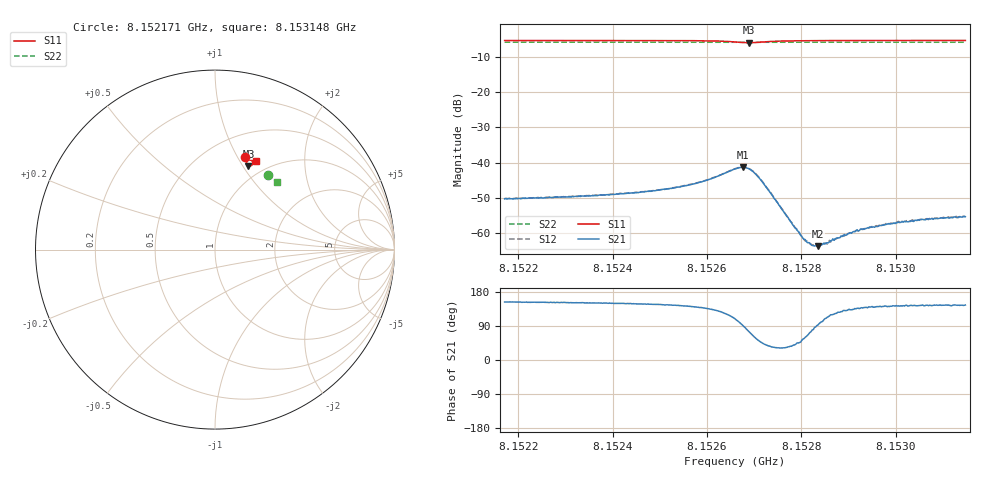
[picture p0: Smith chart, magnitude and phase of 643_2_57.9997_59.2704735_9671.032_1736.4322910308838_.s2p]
#  HZ  S  RI  R  50.00
! Rohde & Schwarz Vector Network Analyzer
! Rohde-Schwarz,ZNB20-2Port,1311601062101988,3.16
! Created: UTC 3/21/2024, 1:19:08 AM
! freq[Hz]  re:S11  im:S11  re:S21  im:S21  re:S12  im:S12  re:S22  im:S22
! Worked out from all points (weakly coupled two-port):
!   401 points, 8.152171 GHz to 8.153148 GHz, reference 50 ohm
!   highest |S21| = -41.32 dB at 8.152676 GHz (marker M1); lowest = -63.7 dB at 8.152835 GHz (marker M2)
!   lowest |S11| = -6.0 dB at 8.152689 GHz (marker M3), VSWR 3.02, Z = 42.5 + j53 ohm
!   |S11| at or under -10 dB: nowhere
!   |S22| runs from -5.9 to -5.8 dB; largest |S21 - S12| = 0.00016
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8.1521712e9  0.1687 0.5135  -0.00273 0.00139  -0.00273 0.00143  0.2953 0.4181
8.1523348e9  0.181 0.5094  -0.00294 0.00161  -0.0029 0.00166  0.3037 0.4118
8.1524299e9  0.1885 0.5065  -0.00314 0.00188  -0.00312 0.00195  0.3085 0.4082
8.1524983e9  0.1948 0.5035  -0.0034 0.00225  -0.00339 0.0023  0.312 0.4053
8.1525764e9  0.2034 0.4974  -0.00387 0.00326  -0.00388 0.00335  0.3161 0.4019
8.152613e9  0.208 0.4911  -0.00411 0.00442  -0.00411 0.00455  0.3177 0.4003
8.1526594e9  0.2069 0.4724  -0.00262 0.0077  -0.00256 0.00779  0.3195 0.3979
8.1526765e9  0.1965 0.4654  -8.78e-05 0.00859  -2.28e-05 0.00865  0.3199 0.3969
8.1526887e9  0.1861 0.4662  0.0021 0.00792  0.00219 0.00797  0.3201 0.3967
8.1527009e9  0.1781 0.4731  0.00354 0.00617  0.00362 0.00624  0.3205 0.3966
8.1527155e9  0.1754 0.4832  0.00382 0.00397  0.0039 0.00397  0.3213 0.3964
8.1527814e9  0.1902 0.4998  0.00104 0.000816  0.00109 0.000818  0.3251 0.3941
8.1528034e9  0.194 0.5003  0.000481 0.000692  0.000523 0.000679  0.3263 0.3932
8.1528132e9  0.1958 0.5004  0.000303 0.000663  0.000351 0.000683  0.3268 0.3928
8.1528229e9  0.197 0.5005  0.000126 0.000655  0.000141 0.000664  0.3272 0.3924
8.1528351e9  0.1988 0.5004  -2.75e-05 0.000651  -2.43e-05 0.000655  0.3279 0.3919
8.1528571e9  0.2015 0.5001  -0.000301 0.000661  -0.0003 0.000656  0.329 0.3909
8.1529133e9  0.2073 0.4988  -0.000748 0.000726  -0.000736 0.000744  0.3318 0.3886
8.1529547e9  0.211 0.4977  -0.000916 0.000785  -0.000969 0.000809  0.3338 0.3867
8.1529865e9  0.2137 0.4969  -0.00105 0.000852  -0.00106 0.000847  0.3353 0.3854
8.1530695e9  0.2201 0.4944  -0.00125 0.000927  -0.00128 0.000944  0.3392 0.3818
8.1531476e9  0.2258 0.4923  -0.0014 0.000973  -0.00139 0.00102  0.3429 0.3786
